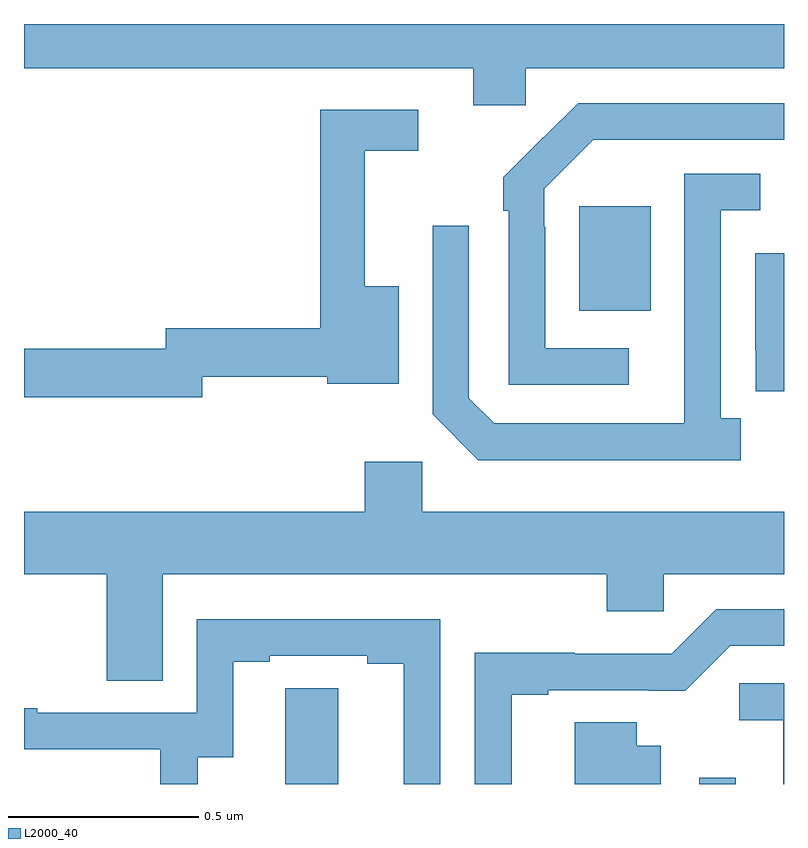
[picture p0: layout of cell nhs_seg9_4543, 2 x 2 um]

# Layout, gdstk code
import gdstk
lib = gdstk.Library(unit=1e-6, precision=1e-09)
def R(c, l, rs):  # rectangles x0, y0, x1, y1
    for r in rs: c.add(gdstk.rectangle(r[:2], r[2:], *l))
def P(c, l, *ps):  # polygons
    for p in ps: c.add(gdstk.Polygon(p, *l))
L2000_40 = (2000, 40)

nhs_seg9_4543 = lib.new_cell('nhs_seg9_4543')
R(nhs_seg9_4543, L2000_40, [(168.777,1230.5,168.873,1230.517), (168.461,1231.745,168.649,1232.02)])
P(nhs_seg9_4543, L2000_40, [(168.321,1232.384),(169,1232.384),(169,1232.5),(167,1232.5),(167,1232.384),(168.182,1232.384),(168.182,1232.286),(168.321,1232.286)],
  [(168.592,1231.647),(168.372,1231.647),(168.372,1231.967),(168.369,1231.967),(168.369,1232.067),(168.498,1232.196),(169,1232.196),(169,1232.292),(168.458,1232.292),(168.367,1232.201),(168.366,1232.202),(168.261,1232.097),(168.261,1232.009),(168.276,1232.009),(168.276,1231.551),(168.592,1231.551)],
  [(167.469,1231.572),(167.798,1231.572),(167.798,1231.553),(167.986,1231.553),(167.986,1231.81),(167.897,1231.81),(167.897,1232.166),(168.037,1232.166),(168.037,1232.274),(167.779,1232.274),(167.779,1231.7),(167.373,1231.7),(167.373,1231.646),(167,1231.646),(167,1231.518),(167.469,1231.518)],
  [(168.886,1231.462),(168.834,1231.462),(168.834,1232.01),(168.937,1232.01),(168.937,1232.106),(168.738,1232.106),(168.738,1231.649),(168.737,1231.649),(168.737,1231.449),(168.237,1231.449),(168.171,1231.515),(168.171,1231.969),(168.075,1231.969),(168.075,1231.473),(168.196,1231.352),(168.886,1231.352)],
  [(169,1231.897),(168.924,1231.897),(168.924,1231.642),(168.925,1231.642),(168.925,1231.533),(169,1231.533)],
  [(167.365,1231.052),(168.533,1231.052),(168.533,1230.954),(168.684,1230.954),(168.684,1231.052),(169,1231.052),(169,1231.216),(168.048,1231.216),(168.048,1231.348),(167.897,1231.348),(167.897,1231.216),(167,1231.216),(167,1231.052),(167.218,1231.052),(167.218,1230.772),(167.365,1230.772)],
  [(168.283,1230.735),(168.379,1230.735),(168.379,1230.747),(168.644,1230.747),(168.644,1230.746),(168.74,1230.746),(168.858,1230.864),(169,1230.864),(169,1230.96),(168.822,1230.96),(168.705,1230.843),(168.449,1230.843),(168.449,1230.845),(168.186,1230.845),(168.186,1230.5),(168.283,1230.5)],
  [(167.457,1230.571),(167.551,1230.571),(167.551,1230.822),(167.647,1230.822),(167.647,1230.837),(167.903,1230.837),(167.903,1230.817),(167.999,1230.817),(167.999,1230.5),(168.096,1230.5),(168.096,1230.933),(167.454,1230.933),(167.454,1230.687),(167.035,1230.687),(167.035,1230.7),(167,1230.7),(167,1230.591),(167.357,1230.591),(167.357,1230.59),(167.358,1230.59),(167.358,1230.5),(167.457,1230.5)],
  [(169,1230.765),(168.882,1230.765),(168.882,1230.668),(168.998,1230.668),(168.998,1230.5),(169,1230.5)],
  [(167.827,1230.752),(167.688,1230.752),(167.688,1230.644),(167.687,1230.644),(167.687,1230.5),(167.827,1230.5)],
  [(168.676,1230.601),(168.613,1230.601),(168.613,1230.662),(168.449,1230.662),(168.449,1230.5),(168.676,1230.5)])

lib.write_gds('nhs_seg9_4543.gds')
